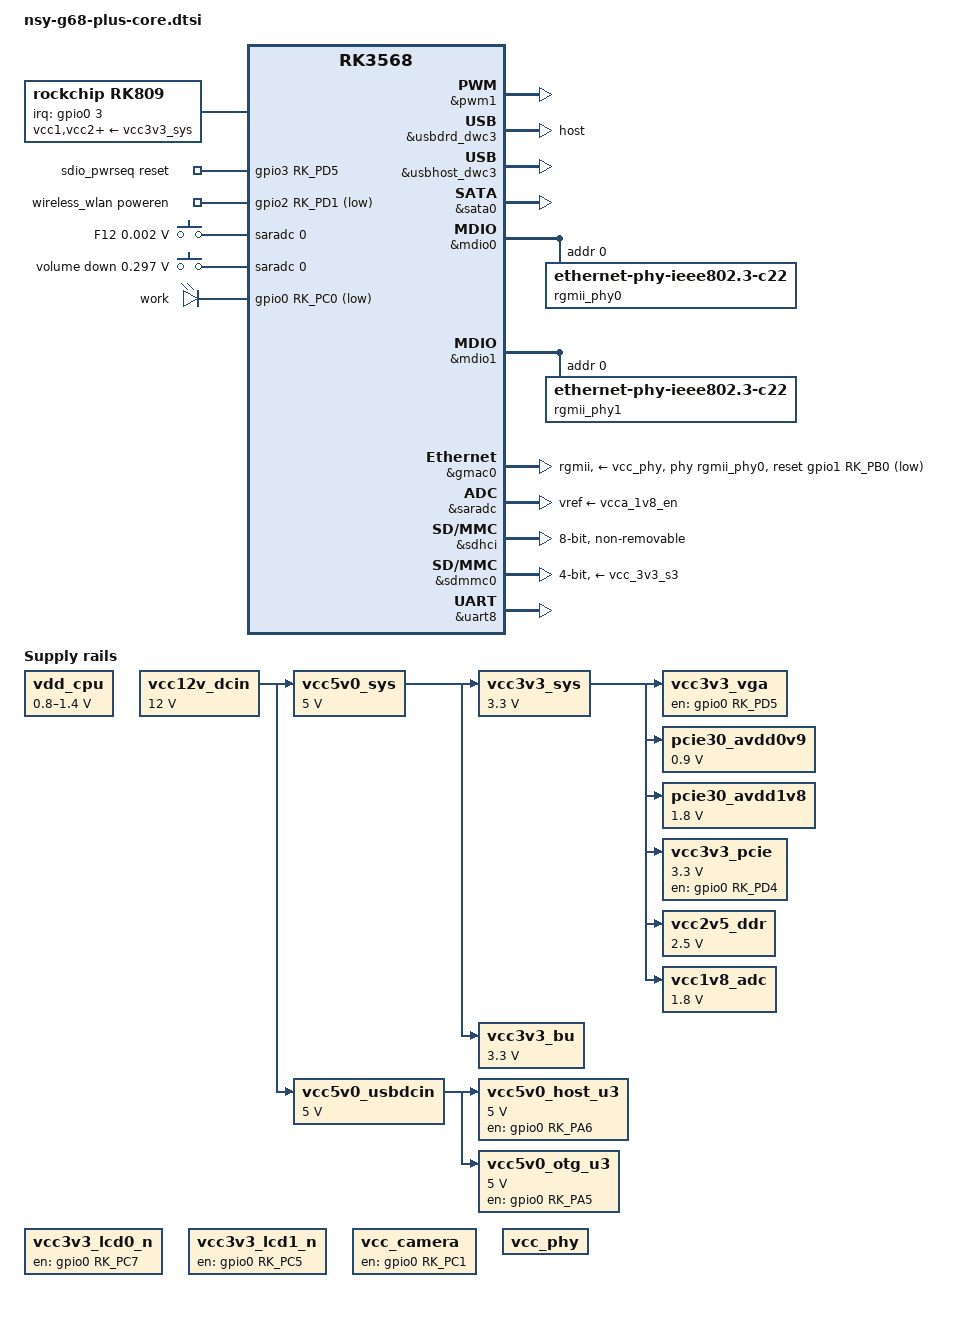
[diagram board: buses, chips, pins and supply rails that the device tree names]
// SPDX-License-Identifier: (GPL-2.0+ OR MIT)
/*
 * Copyright (c) 2020 Rockchip Electronics Co., Ltd.
 *
 */

 /dts-v1/;

#include <dt-bindings/gpio/gpio.h>
#include <dt-bindings/pwm/pwm.h>
#include <dt-bindings/pinctrl/rockchip.h>
#include <dt-bindings/input/rk-input.h>
#include <dt-bindings/display/drm_mipi_dsi.h>
#include <dt-bindings/sensor-dev.h>
#include <dt-bindings/display/media-bus-format.h>
#include "rk3568.dtsi"
#include "rk3568-linux.dtsi"

/ {
		fiq_debugger: fiq-debugger {
		compatible = "rockchip,fiq-debugger";
		rockchip,serial-id = <2>;
		rockchip,wake-irq = <0>;
		/* If enable uart uses irq instead of fiq */
		rockchip,irq-mode-enable = <1>;
		rockchip,baudrate = <1500000>;  /* Only 115200 and 1500000 */
		interrupts = <GIC_SPI 252 IRQ_TYPE_LEVEL_LOW>;
		pinctrl-names = "default";
		pinctrl-0 = <&uart2m0_xfer>;
		status = "okay";
	};

	debug: debug@fd904000 {
		compatible = "rockchip,debug";
		reg = <0x0 0xfd904000 0x0 0x1000>,
			<0x0 0xfd905000 0x0 0x1000>,
			<0x0 0xfd906000 0x0 0x1000>,
			<0x0 0xfd907000 0x0 0x1000>;
	};

	test-power {
		status = "okay";
	};
	
	vdd_cpu: vdd-cpu {
		compatible = "pwm-regulator";
		rockchip,pwm_id = <0>;
		rockchip,pwm_voltage = <900000>;
		pwms = <&pwm1 0 25000 1>;
		regulator-name = "vdd_cpu";
		regulator-init-microvolt = <1150000>;
		regulator-min-microvolt = <800000>;
		regulator-max-microvolt = <1400000>;
		regulator-always-on;
		regulator-boot-on;
		regulator-enable-ramp-delay = <300>;
		regulator-ramp-delay = <8000>;
	};

	vcc12v_dcin: vcc12v-dcin {
		compatible = "regulator-fixed";
		regulator-name = "vcc12v_dcin";
		regulator-always-on;
		regulator-boot-on;
		regulator-min-microvolt = <12000000>;
		regulator-max-microvolt = <12000000>;
	};

	vcc5v0_sys: vcc5v0-sys {
		compatible = "regulator-fixed";
		regulator-name = "vcc5v0_sys";
		regulator-always-on;
		regulator-boot-on;
		regulator-min-microvolt = <5000000>;
		regulator-max-microvolt = <5000000>;
		vin-supply = <&vcc12v_dcin>;
	};

	vcc5v0_usbdcin: vcc5v0-usbdcin {
		compatible = "regulator-fixed";
		regulator-name = "vcc5v0_usbdcin";
		regulator-always-on;
		regulator-boot-on;
		regulator-min-microvolt = <5000000>;
		regulator-max-microvolt = <5000000>;
		vin-supply = <&vcc12v_dcin>;
		pinctrl-names = "default";
		pinctrl-0 = <&vcc5v0_usbdcin_en>;
	};

	vcc5v0_host_u3: vcc5v0-host-u3 {
		compatible = "regulator-fixed";
		regulator-name = "vcc5v0_host_u3";
		regulator-always-on;
		regulator-boot-on;
		regulator-min-microvolt = <5000000>;
		regulator-max-microvolt = <5000000>;
		enable-active-high;
		gpio = <&gpio0 RK_PA6 GPIO_ACTIVE_LOW>;
		vin-supply = <&vcc5v0_usbdcin>;
		pinctrl-names = "default";
		pinctrl-0 = <&vcc5v0_host_u3_en>;
	};
	
	vcc5v0_otg_u3: vcc5v0-otg-u3 {
		compatible = "regulator-fixed";
		regulator-name = "vcc5v0_otg_u3";
		regulator-always-on;
		regulator-boot-on;
		regulator-min-microvolt = <5000000>;
		regulator-max-microvolt = <5000000>;
		enable-active-high;
		gpio = <&gpio0 RK_PA5 GPIO_ACTIVE_LOW>;
		vin-supply = <&vcc5v0_usbdcin>;
		pinctrl-names = "default";
		pinctrl-0 = <&vcc5v0_otg_u3_en>;
	};

	vcc3v3_sys: vcc3v3-sys {
		compatible = "regulator-fixed";
		regulator-name = "vcc3v3_sys";
		regulator-min-microvolt = <3300000>;
		regulator-max-microvolt = <3300000>;
		regulator-always-on;
		regulator-boot-on;
		vin-supply = <&vcc5v0_sys>;
	};

	vcc3v3_lcd0_n: vcc3v3-lcd0-n {
		compatible = "regulator-fixed";
		regulator-name = "vcc3v3_lcd0_n";
		enable-active-high;
		gpio = <&gpio0 RK_PC7 GPIO_ACTIVE_LOW>;
		regulator-boot-on;
		regulator-state-mem {
			regulator-off-in-suspend;
		};
	};

	vcc3v3_lcd1_n: vcc3v3-lcd1-n {
		compatible = "regulator-fixed";
		regulator-name = "vcc3v3_lcd1_n";
		enable-active-high;
		gpio = <&gpio0 RK_PC5 GPIO_ACTIVE_LOW>;
		regulator-boot-on;
		regulator-state-mem {
			regulator-off-in-suspend;
		};
	};

	vcc3v3_vga: vcc3v3-vga {
		compatible = "regulator-fixed";
		regulator-name = "vcc3v3_vga";
		enable-active-high;
		gpio = <&gpio0 RK_PD5 GPIO_ACTIVE_LOW>;
		regulator-always-on;
		regulator-boot-on;
		vin-supply = <&vcc3v3_sys>;
	};

	pcie30_avdd0v9: pcie30-avdd0v9 {
		compatible = "regulator-fixed";
		regulator-name = "pcie30_avdd0v9";
		regulator-always-on;
		regulator-boot-on;
		regulator-min-microvolt = <900000>;
		regulator-max-microvolt = <900000>;
		vin-supply = <&vcc3v3_sys>;
	};

	pcie30_avdd1v8: pcie30-avdd1v8 {
		compatible = "regulator-fixed";
		regulator-name = "pcie30_avdd1v8";
		regulator-always-on;
		regulator-boot-on;
		regulator-min-microvolt = <1800000>;
		regulator-max-microvolt = <1800000>;
		vin-supply = <&vcc3v3_sys>;
	};

	vcc3v3_pcie: vcc3v3-pcie {
		compatible = "regulator-fixed";
		regulator-name = "vcc3v3_pcie";
		regulator-always-on;
		regulator-boot-on;
		regulator-min-microvolt = <3300000>;
		regulator-max-microvolt = <3300000>;
		enable-active-high;
		gpio = <&gpio0 RK_PD4 GPIO_ACTIVE_LOW>;
		startup-delay-us = <5000>;
		vin-supply = <&vcc3v3_sys>;		
	};

	vcc3v3_bu: vcc3v3-bu {
		compatible = "regulator-fixed";
		regulator-name = "vcc3v3_bu";
		regulator-always-on;
		regulator-boot-on;
		regulator-min-microvolt = <3300000>;
		regulator-max-microvolt = <3300000>;
		vin-supply = <&vcc5v0_sys>;
	};

	vcc_camera: vcc-camera {
		compatible = "regulator-fixed";
		gpio = <&gpio0 RK_PC1 GPIO_ACTIVE_LOW>;
		pinctrl-names = "default";
		pinctrl-0 = <&vcc_camera_en>;
		regulator-name = "vcc_camera";
		enable-active-high;
		regulator-always-on;
		regulator-boot-on;
	};

	vcc_phy: vcc-phy {
		compatible = "regulator-fixed";
		regulator-name = "vcc_phy";
		regulator-always-on;
		regulator-boot-on;
	};
	
	vcc2v5_ddr: vcc2v5-ddr {
		compatible = "regulator-fixed";
		regulator-name = "vcc2v5_ddr";
		regulator-always-on;
		regulator-boot-on;
		regulator-min-microvolt = <2500000>;
		regulator-max-microvolt = <2500000>;
		vin-supply = <&vcc3v3_sys>;
	};

	vcc1v8_adc: vcc1v8-adc {
		compatible = "regulator-fixed";
		regulator-name = "vcc1v8_adc";
		regulator-always-on;
		regulator-boot-on;
		regulator-min-microvolt = <1800000>;
		regulator-max-microvolt = <1800000>;
		vin-supply = <&vcc3v3_sys>;
	};


rk809: pmic@20 {
		compatible = "rockchip,rk809";
		reg = <0x20>;
		interrupt-parent = <&gpio0>;
		interrupts = <3 IRQ_TYPE_LEVEL_LOW>;

		pinctrl-names = "default", "pmic-sleep",
				"pmic-power-off", "pmic-reset";
		pinctrl-0 = <&pmic_int>;
		pinctrl-1 = <&soc_slppin_slp>, <&rk817_slppin_slp>;
		pinctrl-2 = <&soc_slppin_gpio>, <&rk817_slppin_pwrdn>;
		pinctrl-3 = <&soc_slppin_gpio>, <&rk817_slppin_rst>;

		rockchip,system-power-controller;
		wakeup-source;
		#clock-cells = <1>;
		clock-output-names = "rk808-clkout1", "rk808-clkout2";
		//fb-inner-reg-idxs = <2>;
		/* 1: rst regs (default in codes), 0: rst the pmic */
		pmic-reset-func = <0>;
		/* not save the PMIC_POWER_EN register in uboot */
		not-save-power-en = <1>;

		vcc1-supply = <&vcc3v3_sys>;
		vcc2-supply = <&vcc3v3_sys>;
		vcc3-supply = <&vcc3v3_sys>;
		vcc4-supply = <&vcc3v3_sys>;
		vcc5-supply = <&vcc3v3_sys>;
		vcc6-supply = <&vcc3v3_sys>;
		vcc7-supply = <&vcc3v3_sys>;
		vcc8-supply = <&vcc3v3_sys>;
		vcc9-supply = <&vcc3v3_sys>;

		pwrkey {
			status = "okay";
		};

		pinctrl_rk8xx: pinctrl_rk8xx {
			gpio-controller;
			#gpio-cells = <2>;

			rk817_slppin_null: rk817_slppin_null {
				pins = "gpio_slp";
				function = "pin_fun0";
			};

			rk817_slppin_slp: rk817_slppin_slp {
				pins = "gpio_slp";
				function = "pin_fun1";
			};

			rk817_slppin_pwrdn: rk817_slppin_pwrdn {
				pins = "gpio_slp";
				function = "pin_fun2";
			};

			rk817_slppin_rst: rk817_slppin_rst {
				pins = "gpio_slp";
				function = "pin_fun3";
			};
		};
	};
	
	&pinctrl {
	pmic {
		pmic_int: pmic_int {
			rockchip,pins =
				<0 RK_PA3 RK_FUNC_GPIO &pcfg_pull_up>;
		};

		soc_slppin_gpio: soc_slppin_gpio {
			rockchip,pins =
				<0 RK_PA2 RK_FUNC_GPIO &pcfg_output_low_pull_down>;
		};

		soc_slppin_slp: soc_slppin_slp {
			rockchip,pins =
				<0 RK_PA2 RK_FUNC_1 &pcfg_pull_up>;
		};

		soc_slppin_rst: soc_slppin_rst {
			rockchip,pins =
				<0 RK_PA2 RK_FUNC_2 &pcfg_pull_none>;
		};

		spk_ctl_gpio: spk_ctl_gpio {
			rockchip,pins = <3 RK_PC5 RK_FUNC_GPIO &pcfg_pull_up>;
		};
	};
	
	usb {
		vcc5v0_host_en: vcc5v0-host-en {
			rockchip,pins = <0 RK_PA6 RK_FUNC_GPIO &pcfg_pull_none>;
		};

		vcc5v0_otg_en: vcc5v0-otg-en {
			rockchip,pins = <0 RK_PA5 RK_FUNC_GPIO &pcfg_pull_none>;
		};
	
		regulators {
			vdd_logic: DCDC_REG1 {
				regulator-always-on;
				regulator-boot-on;
				regulator-min-microvolt = <500000>;
				regulator-max-microvolt = <1350000>;
				regulator-init-microvolt = <900000>;
				regulator-ramp-delay = <6001>;
				regulator-initial-mode = <0x2>;
				regulator-name = "vdd_logic";
				regulator-state-mem {
					regulator-off-in-suspend;
				};
			};

			vdd_gpu: DCDC_REG2 {
				regulator-always-on;
				regulator-boot-on;
				regulator-min-microvolt = <500000>;
				regulator-max-microvolt = <1350000>;
				regulator-init-microvolt = <900000>;
				regulator-ramp-delay = <6001>;
				regulator-initial-mode = <0x2>;
				regulator-name = "vdd_gpu";
				regulator-state-mem {
					regulator-off-in-suspend;
				};
			};

			vcc_ddr: DCDC_REG3 {
				regulator-always-on;
				regulator-boot-on;
				regulator-initial-mode = <0x2>;
				regulator-name = "vcc_ddr";
				regulator-state-mem {
					regulator-on-in-suspend;
				};
			};

			vdd_npu: DCDC_REG4 {
				regulator-always-on;
				regulator-boot-on;
				regulator-min-microvolt = <500000>;
				regulator-max-microvolt = <1350000>;
				regulator-init-microvolt = <900000>;
				regulator-ramp-delay = <6001>;
				regulator-initial-mode = <0x2>;
				regulator-name = "vdd_npu";
				regulator-state-mem {
					regulator-off-in-suspend;
				};
			};

			vdda0v9_image: LDO_REG1 {
				regulator-boot-on;
				regulator-always-on;
				regulator-min-microvolt = <900000>;
				regulator-max-microvolt = <900000>;
				regulator-name = "vdda0v9_image";
				regulator-state-mem {
					regulator-off-in-suspend;
				};
			};

			vdda_0v9: LDO_REG2 {
				regulator-always-on;
				regulator-boot-on;
				regulator-min-microvolt = <900000>;
				regulator-max-microvolt = <900000>;
				regulator-name = "vdda_0v9";
				regulator-state-mem {
					regulator-off-in-suspend;
				};
			};

			vdda0v9_pmu: LDO_REG3 {
				regulator-always-on;
				regulator-boot-on;
				regulator-min-microvolt = <900000>;
				regulator-max-microvolt = <900000>;
				regulator-name = "vdda0v9_pmu";
				regulator-state-mem {
					regulator-on-in-suspend;
					regulator-suspend-microvolt = <900000>;
				};
			};

			vccio_acodec: LDO_REG4 {
				regulator-always-on;
				regulator-boot-on;
				regulator-min-microvolt = <3300000>;
				regulator-max-microvolt = <3300000>;
				regulator-name = "vccio_acodec";
				regulator-state-mem {
					regulator-off-in-suspend;
				};
			};

			vccio_sd: LDO_REG5 {
				regulator-always-on;
				regulator-boot-on;
				regulator-min-microvolt = <1800000>;
				regulator-max-microvolt = <3300000>;
				regulator-name = "vccio_sd";
				regulator-state-mem {
					regulator-off-in-suspend;
				};
			};

			vcc3v3_pmu: LDO_REG6 {
				regulator-always-on;
				regulator-boot-on;
				regulator-min-microvolt = <3300000>;
				regulator-max-microvolt = <3300000>;
				regulator-name = "vcc3v3_pmu";
				regulator-state-mem {
					regulator-on-in-suspend;
					regulator-suspend-microvolt = <3300000>;
				};
			};

			vcca_1v8: LDO_REG7 {
				regulator-always-on;
				regulator-boot-on;
				regulator-min-microvolt = <1800000>;
				regulator-max-microvolt = <1800000>;
				regulator-name = "vcca_1v8";
				regulator-state-mem {
					regulator-off-in-suspend;
				};
			};

			vcca1v8_pmu: LDO_REG8 {
				regulator-always-on;
				regulator-boot-on;
				regulator-min-microvolt = <1800000>;
				regulator-max-microvolt = <1800000>;
				regulator-name = "vcca1v8_pmu";
				regulator-state-mem {
					regulator-on-in-suspend;
					regulator-suspend-microvolt = <1800000>;
				};
			};

			vcca1v8_image: LDO_REG9 {
				regulator-always-on;
				regulator-boot-on;
				regulator-min-microvolt = <1800000>;
				regulator-max-microvolt = <1800000>;
				regulator-name = "vcca1v8_image";
				regulator-state-mem {
					regulator-off-in-suspend;
				};
			};

			vcc_1v8: DCDC_REG5 {
				regulator-always-on;
				regulator-boot-on;
				regulator-min-microvolt = <1800000>;
				regulator-max-microvolt = <1800000>;
				regulator-name = "vcc_1v8";
				regulator-state-mem {
					regulator-off-in-suspend;
				};
			};

			vcc_3v3: SWITCH_REG1 {
				regulator-always-on;
				regulator-boot-on;
				regulator-name = "vcc_3v3";
				regulator-state-mem {
					regulator-off-in-suspend;
				};
			};

			vcc3v3_sd: SWITCH_REG2 {
				regulator-always-on;
				regulator-boot-on;
				regulator-name = "vcc3v3_sd";
				regulator-state-mem {
					regulator-off-in-suspend;
				};
			};
		};
	};
	};
	
	sdio_pwrseq: sdio-pwrseq {
		compatible = "mmc-pwrseq-simple";
		clocks = <&rk809 1>;
		clock-names = "ext_clock";
		pinctrl-names = "default";
		pinctrl-0 = <&wifi_enable_h>;
		post-power-on-delay-ms = <200>;
		reset-gpios = <&gpio3 RK_PD5 GPIO_ACTIVE_HIGH>;
		// status = "disabled";
	};

/*
	vcc3v3_wifi: vcc3v3-wifi {
		compatible = "regulator-fixed";
		regulator-name = "vcc3v3_wifi";
		regulator-always-on;
		regulator-boot-on;
		regulator-min-microvolt = <3300000>;
		regulator-max-microvolt = <3300000>;
		enable-active-high;
		gpio = <&gpio3 RK_PD4 GPIO_ACTIVE_HIGH>;
		pinctrl-names = "default";
		pinctrl-0 = <&wifi_enable_h>;
		vin-supply = <&vcc3v3_sys>;
	};
*/	
    //wifi
    wireless_wlan: wireless-wlan {
        compatible = "wlan-platdata";    
        wifi_chip_type = "ap6398s";
        rockchip,grf = <&grf>;
        WIFI,poweren_gpio = <&gpio2 RK_PD1 GPIO_ACTIVE_LOW>;
        keep_wifi_power_on;
        status = "okay";
		pinctrl-names = "default";
		pinctrl-0 = <&wireless_wlan_h>;
    };
	
	wireless_bluetooth: wireless-bluetooth {
		compatible = "bluetooth-platdata";
		clocks = <&rk809 1>;
		clock-names = "ext_clock";
		//wifi-bt-power-toggle;
		status = "disabled";
	};	

	wireless_bluetooth: wireless-bluetooth {
		compatible = "bluetooth-platdata";
		clocks = <&rk809 1>;
		clock-names = "ext_clock";
		//wifi-bt-power-toggle;
		uart_rts_gpios = <&gpio2 RK_PB1 GPIO_ACTIVE_HIGH>;
		pinctrl-names = "default", "rts_gpio";
		pinctrl-0 = <&uart8m0_rtsn>;
		pinctrl-1 = <&uart8_gpios>;
		/* BT,reset_gpio    = <&gpio3 RK_PA0 GPIO_ACTIVE_HIGH>; */
		/* BT,wake_gpio     = <&gpio3 RK_PA1 GPIO_ACTIVE_HIGH>; */
		BT,wake_host_irq = <&gpio3 RK_PA1 GPIO_ACTIVE_LOW>;
		/* status = "disabled"; */
		status = "disabled";
	};
	
	adc_keys: adc-keys {
		compatible = "adc-keys";
		io-channels = <&saradc 0>;
		io-channel-names = "buttons";
		keyup-threshold-microvolt = <1800000>;
		poll-interval = <100>;
		status = "okay";
		recovery-key {
			label = "F12";
			linux,code = <KEY_F12>;
			press-threshold-microvolt = <1750>;
		};
		vol-down-key {
			label = "volume down";
			linux,code = <KEY_VOLUMEDOWN>;
			press-threshold-microvolt = <297500>;
		};
	/*
		menu-key {
			label = "menu";
			linux,code = <KEY_MENU>;
			press-threshold-microvolt = <980000>;
		};

		back-key {
			label = "back";
			linux,code = <KEY_BACK>;
			press-threshold-microvolt = <1305500>;
		};
	*/
	};

/*
	audiopwmout_diff: audiopwmout-diff {
		status = "disabled";
		compatible = "simple-audio-card";
		simple-audio-card,format = "i2s";
		simple-audio-card,name = "rockchip,audiopwmout-diff";
		simple-audio-card,mclk-fs = <256>;
		simple-audio-card,bitclock-master = <&master>;
		simple-audio-card,frame-master = <&master>;
		simple-audio-card,cpu {
			sound-dai = <&i2s3_2ch>;
		};
		master: simple-audio-card,codec {
			sound-dai = <&dig_acodec>;
		};
	};
	
	pdmics: dummy-codec {
		status = "disabled";
		compatible = "rockchip,dummy-codec";
		#sound-dai-cells = <0>;
	};

	pdm_mic_array: pdm-mic-array {
		status = "disabled";
		compatible = "simple-audio-card";
		simple-audio-card,name = "rockchip,pdm-mic-array";
		simple-audio-card,cpu {
			sound-dai = <&pdm>;
		};
		simple-audio-card,codec {
			sound-dai = <&pdmics>;
		};
	};

	rk809_sound: rk809-sound {
		status = "okay";
		compatible = "simple-audio-card";
		simple-audio-card,format = "i2s";
		simple-audio-card,name = "rockchip,rk809-codec";
		simple-audio-card,mclk-fs = <256>;

		simple-audio-card,widgets =
			"Microphone", "Mic Jack",
			"Headphone", "Headphones",
			"Speaker", "Speaker";
		simple-audio-card,routing =
			"MICL", "Mic Jack",
			"Headphones", "HPOL",
			"Headphones", "HPOR",
			"Speaker", "SPKO";
		simple-audio-card,hp-det-gpio = <&gpio3 RK_PC2 GPIO_ACTIVE_HIGH>; //HP_DET_L_GPIO3_C2

		simple-audio-card,cpu {
			sound-dai = <&i2s1_8ch>;
		};
		simple-audio-card,codec {
			sound-dai = <&rk809_codec>;
		};
	};

	spdif-sound {
		status = "okay";
		compatible = "simple-audio-card";
		simple-audio-card,name = "ROCKCHIP,SPDIF";
		simple-audio-card,cpu {
				sound-dai = <&spdif_8ch>;
		};
		simple-audio-card,codec {
				sound-dai = <&spdif_out>;
		};
	};

	spdif_out: spdif-out {
			status = "okay";
			compatible = "linux,spdif-dit";
			#sound-dai-cells = <0>;
	};

	vad_sound: vad-sound {
		status = "disabled";
		compatible = "rockchip,multicodecs-card";
		rockchip,card-name = "rockchip,rk3568-vad";
		rockchip,cpu = <&i2s1_8ch>;
		rockchip,codec = <&rk809_codec>, <&vad>;
	};
*/		
	gpio-leds {
		status = "okay";
		compatible = "gpio-leds";
		pinctrl-names = "default";

		work {
			linux,default-trigger = "heartbeat";
			default-state = "on";
			gpios = <&gpio0 RK_PC0 GPIO_ACTIVE_LOW>;	
		};
    };


&pwm1 {
	status = "okay";
};


&usbdrd_dwc3 {
	dr_mode = "host";
	extcon = <&usb2phy0>;
	status = "okay";
};


&combphy0_us {
	status = "okay";
};


&usbhost_dwc3 { 
    status = "okay"; 
};


/* 对应lede combphy1 */
&combphy1_usq { 
//    rockchip,dis-u3otg1-port; 
    status = "okay"; 
};

&sata0 {
	status = "okay";
};

&sata1 {
    status = "disabled";
};

/* PCIE 
&combphy2_psq {
	status = "okay";
};

&uart0 {
	status = "disabled";
	pinctrl-names = "default";
	pinctrl-0 = <&uart0_xfer>;
};

&uart1 {
	status = "disabled";
};

&uart2 {
	status = "disabled";
};

&uart3 {
	status = "okay";
	pinctrl-names = "default";
	pinctrl-0 = <&uart3m1_xfer>;
};

&uart4 {
	status = "disabled";
	pinctrl-names = "default";
	pinctrl-0 = <&uart4m0_xfer>;
};

&uart5 {
	status = "okay";
	pinctrl-names = "default";
	pinctrl-0 = <&uart5m1_xfer>;
};

&uart7 {
	status = "disabled";
//	pinctrl-names = "default";
//	pinctrl-0 = <&uart7m1_xfer>;
};

&uart8 {
	status = "disabled";
	pinctrl-names = "default";
	pinctrl-0 = <&uart8m0_xfer>;
};
*/

&mdio0 {
	rgmii_phy0: phy@0 {
		compatible = "ethernet-phy-ieee802.3-c22";
		reg = <0x0>;
	};
};

&mdio1 {
	rgmii_phy1: phy@1 {
		compatible = "ethernet-phy-ieee802.3-c22";
		reg = <0x0>;
	};
};

&gmac0 {
	phy-mode = "rgmii";
	clock_in_out = "output";
	//clock_in_out = "input";
	
	snps,reset-gpio = <&gpio1 RK_PB0 GPIO_ACTIVE_HIGH>;
	snps,reset-active-low;
	/* Reset time is 20ms, 100ms for rtl8211f */
	snps,reset-delays-us = <0 20000 100000>;

	assigned-clocks = <&cru SCLK_GMAC0_RX_TX>, <&cru SCLK_GMAC0>;
	assigned-clock-parents = <&cru SCLK_GMAC0_RGMII_SPEED>, <&cru CLK_MAC0_2TOP>;
	assigned-clock-rates = <0>, <125000000>;

	pinctrl-names = "default";
	pinctrl-0 = <&gmac0_miim
		     &gmac0_tx_bus2
		     &gmac0_rx_bus2
		     &gmac0_rgmii_clk
		     &gmac0_rgmii_bus>;

	tx_delay = <0x4f>;
	rx_delay = <0x26>;
	fixd-link {
		speed = <1000>;
		full-duplex;
		pause;
	}
	phy-handle = <&rgmii_phy0>;
	phy-supply = <&vcc_phy>;
	status = "okay";	
};

&gmac1 {
	phy-mode = "rgmii";
	clock_in_out = "output";
	//clock_in_out = "input";

	snps,reset-gpio = <&gpio1 RK_PB1 GPIO_ACTIVE_HIGH>;
	snps,reset-active-low;
	
	snps,reset-delays-us = <0 20000 100000>;

	assigned-clocks = <&cru SCLK_GMAC1_RX_TX>, <&cru SCLK_GMAC1>;
	assigned-clock-parents = <&cru SCLK_GMAC1_RGMII_SPEED>, <&cru CLK_MAC1_2TOP>;
	assigned-clock-rates = <0>, <125000000>;
	
	pinctrl-names = "default";
	pinctrl-0 = <&gmac1m1_miim
		     &gmac1m1_tx_bus2
		     &gmac1m1_rx_bus2
		     &gmac1m1_rgmii_clk
		     &gmac1m1_rgmii_bus>;

	tx_delay = <0x4f>;
	rx_delay = <0x26>;

	phy-handle = <&rgmii_phy1>;
	phy-supply = <&vcc_phy>;
	status = "disabled";
};

/*
&can1 {
	assigned-clocks = <&cru CLK_CAN1>;
	assigned-clock-rates = <150000000>;
	pinctrl-names = "default";
	pinctrl-0 = <&can1m1_pins>;
	status = "disabled";
};

&can2 {
	assigned-clocks = <&cru CLK_CAN2>;
	assigned-clock-rates = <150000000>;
	pinctrl-names = "default";
	pinctrl-0 = <&can2m1_pins>;
	status = "disabled";
};
*/

/* pcie这部分不会	
&pcie2x1 {
	num-lanes = <1>;
	num-viewport = <4>;
	pinctrl-0 = <&asm1064_rst>;
	reset-gpios = <&gpio3 RK_PB6 GPIO_ACTIVE_HIGH>;	
	vpcie3v3-supply = <&vcc5v0_sys>;
	status = "okay";
};

&pcie30phy {
	status = "okay";
};

	pcie3_phy:pcie3-phy {
		compatible = "rockchip,rk3568-pcie3-phy";
		reg = <0x00 0xfe8c0000 0x00 0x20000>;
		phys = <&pcie30phy>;
		clocks = <0x30 0x26 0x30 0x27 0x21 0x177>;
		clock-names = "refclk_m\0refclk_n\0pclk";
		resets = <0x21 0x1be>;
		rockchip,phy-grf = <0x130>;
		status = "okay";
		data-lanes = <0x01 0x02>;
	};

&pcie3x2 {
	pinctrl-names = "default";
	pinctrl-0 = <&pcie_reset_h>;
	reset-gpios = <&gpio0 RK_PC6 GPIO_ACTIVE_HIGH>;
	vpcie3v3-supply = <&vcc3v3_sys>;
	status = "okay";
};
*/

&rk809_codec {
	status = "disabled";
	spk-mute-delay-ms = <30>;
};

&rk809_sound {
	status = "disabled";
};
		
	&saradc {
	vref-supply = <&vcca_1v8_en>;
	status = "okay";
	};
	
	&sdhci {
	bus-width = <8>;
	no-sdio;
	no-sd;
	non-removable;
	max-frequency = <150000000>;
	mmc-hs400-1_8v;
	mmc-hs400-enhanced-strobe;
	status = "okay";
};

	&sdmmc0 {
	max-frequency = <150000000>;
	no-sdio;
	no-mmc;
	bus-width = <4>;
	cap-mmc-highspeed;
	cap-sd-highspeed;
	disable-wp;
	sd-uhs-sdr104;
	vmmc-supply = <&vcc_3v3_s3>;
	vqmmc-supply = <&vccio_sd_s0>;
	pinctrl-names = "default";
	pinctrl-0 = <&sdmmc_bus4 &sdmmc_clk &sdmmc_cmd &sdmmc_det>;
	status = "okay";
	};

/*	
	&sdmmc1 {
	max-frequency = <150000000>;
	supports-sdio;
	bus-width = <4>;
	disable-wp;
	cap-sd-highspeed;
	cap-sdio-irq;
	keep-power-in-suspend;
	pinctrl-names = "default";
	pinctrl-0 = <&sdmmc2m0_bus4 &sdmmc2m0_cmd &sdmmc2m0_clk>;
	sd-uhs-sdr104;
	mmc-pwrseq = <&sdio_pwrseq>;
	non-removable;
	status = "disabled";
};
*/



&spdif_8ch {
	status = "disabled";
	pinctrl-names = "default";
	pinctrl-0 = <&spdifm1_tx>;
};

&uart3 {
	status = "disabled";
	pinctrl-names = "default";
	pinctrl-0 = <&uart3m1_xfer>;
};

&uart4 {
	status = "disabled";
	pinctrl-names = "default";
	pinctrl-0 = <&uart4m1_xfer>;
};

&uart8 {
	status = "okay";
	pinctrl-names = "default";
	pinctrl-0 = <&uart8m0_xfer &uart8m0_ctsn>;
};
